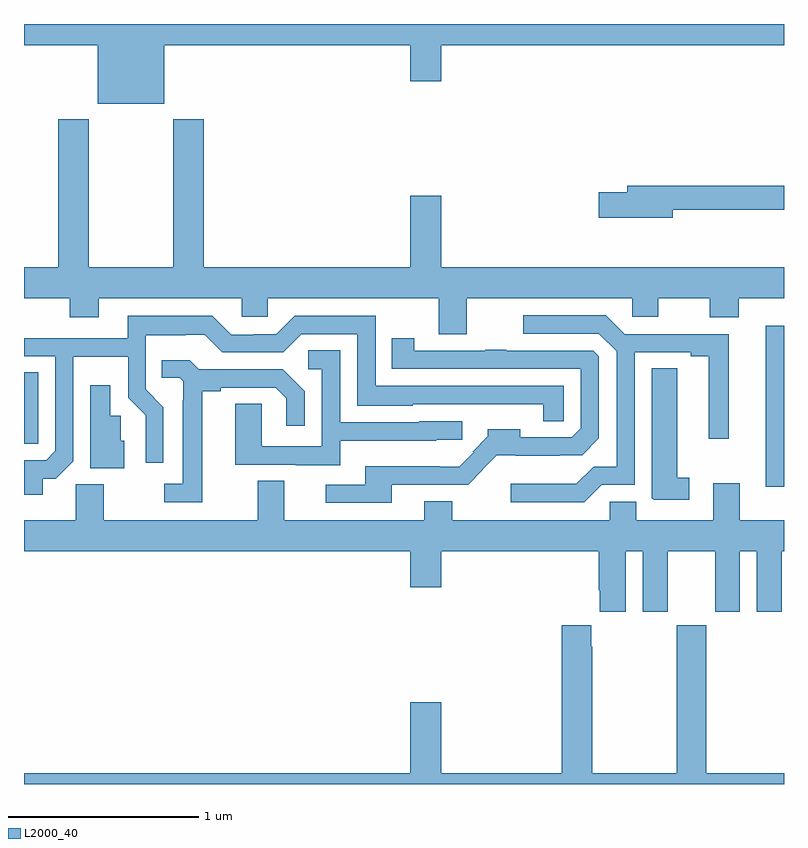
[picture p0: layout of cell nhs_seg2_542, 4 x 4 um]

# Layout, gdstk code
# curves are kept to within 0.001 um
import gdstk
lib = gdstk.Library(unit=1e-6, precision=1e-09)
def R(c, l, rs):  # rectangles x0, y0, x1, y1
    for r in rs: c.add(gdstk.rectangle(r[:2], r[2:], *l))
def P(c, l, *ps):  # polygons
    for p in ps: c.add(gdstk.Polygon(p, *l))
L2000_40 = (2000, 40)

nhs_seg2_542 = lib.new_cell('nhs_seg2_542')
R(nhs_seg2_542, L2000_40, [(142.904,593.364,143,594.211)])
P(nhs_seg2_542, L2000_40, [(139.738,595.688),(141.032,595.688),(141.032,595.5),(141.196,595.5),(141.196,595.688),(143,595.688),(143,595.8),(139,595.8),(139,595.688),(139.388,595.688),(139.388,595.379),(139.738,595.379)],
  [(141.331,594.356),(142.2,594.356),(142.2,594.258),(142.339,594.258),(142.339,594.356),(142.61,594.356),(142.61,594.257),(142.763,594.257),(142.763,594.356),(143,594.356),(143,594.52),(141.196,594.52),(141.196,594.895),(141.032,594.895),(141.032,594.52),(139.946,594.52),(139.946,595.3),(139.786,595.3),(139.786,594.52),(139.341,594.52),(139.341,595.3),(139.181,595.3),(139.181,594.52),(139,594.52),(139,594.356),(139.241,594.356),(139.241,594.257),(139.393,594.257),(139.393,594.356),(140.145,594.356),(140.145,594.258),(140.283,594.258),(140.283,594.356),(141.184,594.356),(141.184,594.166),(141.331,594.166)],
  [(142.414,594.822),(143,594.822),(143,594.95),(142.175,594.95),(142.175,594.914),(142.026,594.914),(142.026,594.779),(142.414,594.779)],
  [(142.041,593.376),(142.215,593.376),(142.215,594.072),(142.508,594.072),(142.508,594.052),(142.604,594.052),(142.604,593.616),(142.708,593.616),(142.708,594.168),(142.162,594.168),(142.063,594.267),(141.627,594.267),(141.627,594.171),(142.026,594.171),(142.119,594.078),(142.119,593.471),(141.998,593.471),(141.907,593.38),(141.561,593.38),(141.561,593.283),(141.948,593.283)],
  [(139.099,593.407),(139.167,593.407),(139.26,593.499),(139.26,594.05),(139.548,594.05),(139.548,593.834),(139.64,593.742),(139.64,593.49),(139.734,593.49),(139.734,593.784),(139.641,593.877),(139.641,594.161),(139.85,594.161),(139.85,594.165),(139.95,594.165),(140.043,594.072),(140.364,594.072),(140.46,594.168),(140.754,594.168),(140.754,593.792),(141.045,593.792),(141.045,593.799),(141.732,593.798),(141.732,593.71),(141.84,593.71),(141.84,593.895),(140.85,593.895),(140.85,594.264),(140.424,594.264),(140.328,594.168),(140.208,594.168),(140.208,594.165),(140.091,594.165),(139.991,594.265),(139.547,594.265),(139.547,594.147),(139,594.147),(139,594.051),(139.164,594.051),(139.164,593.553),(139.116,593.505),(139,593.505),(139,593.322),(139.099,593.322)],
  [(140.935,593.376),(141.339,593.376),(141.415,593.453),(141.413,593.455),(141.487,593.529),(141.821,593.528),(141.821,593.53),(141.937,593.53),(142.026,593.619),(142.026,594.051),(141.996,594.081),(141.539,594.081),(141.539,594.086),(141.427,594.086),(141.427,594.081),(141.054,594.081),(141.054,594.145),(140.935,594.145),(140.935,593.985),(141.93,593.985),(141.93,593.673),(141.882,593.625),(141.613,593.625),(141.613,593.668),(141.442,593.668),(141.442,593.629),(141.363,593.55),(141.366,593.547),(141.29,593.471),(141.188,593.471),(141.188,593.473),(140.795,593.473),(140.795,593.376),(140.589,593.376),(140.589,593.28),(140.935,593.28)],
  [(140.665,593.606),(141.171,593.606),(141.171,593.613),(141.306,593.613),(141.306,593.709),(141.081,593.709),(141.081,593.703),(140.664,593.703),(140.664,594.083),(140.496,594.083),(140.496,593.982),(140.568,593.982),(140.568,593.577),(140.25,593.577),(140.25,593.801),(140.111,593.801),(140.111,593.481),(140.429,593.481),(140.429,593.477),(140.665,593.477)],
  [(139.939,593.866),(140.035,593.866),(140.035,593.886),(140.324,593.886),(140.381,593.829),(140.381,593.685),(140.478,593.685),(140.478,593.866),(140.362,593.982),(139.92,593.982),(139.872,594.029),(139.726,594.029),(139.726,593.937),(139.821,593.937),(139.839,593.919),(139.839,593.819),(139.835,593.819),(139.835,593.379),(139.737,593.379),(139.737,593.283),(139.939,593.283)],
  [(142.501,593.411),(142.438,593.411),(142.438,593.987),(142.304,593.987),(142.304,593.305),(142.314,593.295),(142.501,593.295)],
  [(139.074,593.698),(139.075,593.698),(139.075,593.966),(139,593.966),(139,593.59),(139.074,593.59)],
  [(139.528,593.607),(139.509,593.607),(139.509,593.739),(139.453,593.739),(139.453,593.899),(139.349,593.899),(139.349,593.462),(139.528,593.462)],
  [(142.168,593.024),(142.256,593.024),(142.256,592.707),(142.387,592.707),(142.387,593.024),(142.637,593.024),(142.637,592.707),(142.768,592.707),(142.768,593.024),(142.856,593.024),(142.856,592.707),(142.987,592.707),(142.987,593.024),(143,593.024),(143,593.188),(142.768,593.188),(142.768,593.383),(142.628,593.383),(142.628,593.188),(142.222,593.188),(142.222,593.286),(142.083,593.286),(142.083,593.188),(141.255,593.188),(141.255,593.287),(141.107,593.287),(141.107,593.188),(140.371,593.188),(140.371,593.396),(140.231,593.396),(140.231,593.188),(139.419,593.188),(139.419,593.377),(139.272,593.377),(139.272,593.188),(139,593.188),(139,593.024),(141.032,593.024),(141.032,592.836),(141.196,592.836),(141.196,593.024),(142.025,593.024),(142.025,592.819),(142.031,592.819),(142.031,592.707),(142.168,592.707)],
  [(143,591.856),(142.59,591.856),(142.59,592.636),(142.435,592.636),(142.435,591.856),(141.99,591.856),(141.99,592.523),(141.985,592.523),(141.985,592.636),(141.83,592.636),(141.83,591.856),(141.196,591.856),(141.196,592.231),(141.032,592.231),(141.032,591.856),(139,591.856),(139,591.8),(143,591.8)])

lib.write_gds('nhs_seg2_542.gds')
